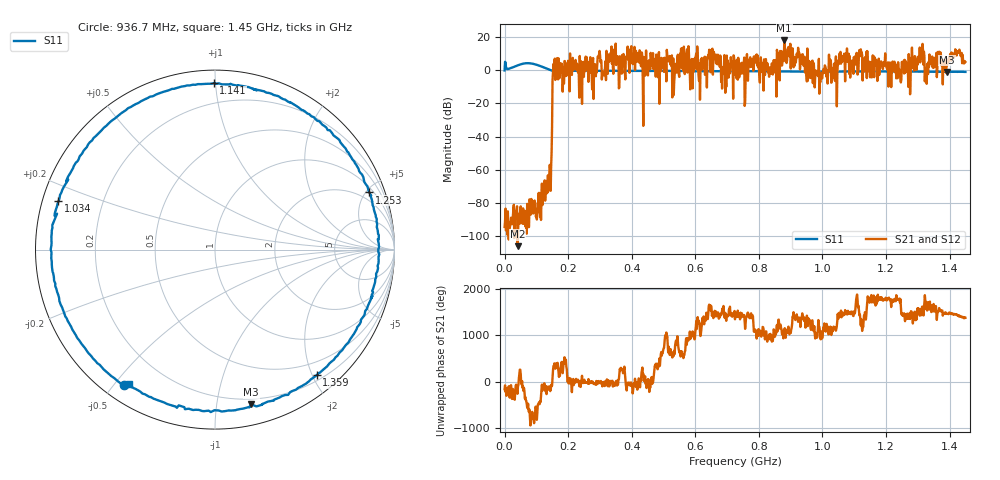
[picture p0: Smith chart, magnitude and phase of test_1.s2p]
! Created with skrf 1.11.0 (http://scikit-rf.org).
# Hz S RI R 50.0
!freq ReS11 ImS11 ReS21 ImS21 ReS12 ImS12 ReS22 ImS22
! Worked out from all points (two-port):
!   1001 points, 50 kHz to 1.45 GHz, reference 50 ohm
!   highest |S21| = 17.93 dB at 880.2 MHz (marker M1); lowest = -105.9 dB at 40.65 MHz (marker M2)
!   |S21| within 3 dB of the highest: 349.2053 MHz to 349.611 MHz (405.8 kHz wide, 0.116 % of centre); 879.8193 MHz to 881.5782 MHz (1.759 MHz wide, 0.2 % of centre) (the widest 2 of 4)
!   lowest |S11| = -1.1 dB at 1.392 GHz (marker M3), VSWR 16.43, Z = 7.84 - j62.5 ohm
!   |S11| at or under -10 dB: nowhere
!   |S22| runs from - to - dB; largest |S21 - S12| = 0
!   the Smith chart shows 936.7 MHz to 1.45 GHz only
!   S11 on the Smith chart (normalised r, x): 936.7 MHz: 0.06, -0.53; 1.034 GHz: 0.05, +0.15; 1.141 GHz: 0.07, +0.99; 1.253 GHz: 1.33, +5.25; 1.359 GHz: 0.28, -2.07; 1.45 GHz: 0.07, -0.55
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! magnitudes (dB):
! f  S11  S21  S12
! 50 kHz  -0.1  -94.3  -94.3
! 40.65 MHz  2.9  -105.9  -105.9
! 137.8 MHz  0.5  -72.7  -72.7
! 159.5 MHz  -0.3  -5.8  -5.8
! 242.2 MHz  -0.3  1.7  1.7
! 342.2 MHz  -0.3  -2.1  -2.1
! 484.3 MHz  -0.4  9.0  9.0
! 535.1 MHz  -0.4  -2.9  -2.9
! 558.3 MHz  -0.5  13.1  13.1
! 588.7 MHz  -0.6  6.8  6.8
! 646.7 MHz  -0.6  12.2  12.2
! 725 MHz  -0.6  1.9  1.9
! 880.2 MHz  -0.7  17.9  17.9
! 936.7 MHz  -0.8  9.6  9.6
! 967.2 MHz  -0.8  2.4  2.4
! 1.034 GHz  -0.8  -4.7  -4.7
! 1.141 GHz  -0.7  11.6  11.6
! 1.209 GHz  -0.7  1.1  1.1
! 1.253 GHz  -0.8  4.1  4.1
! 1.359 GHz  -0.9  10.4  10.4
! 1.392 GHz  -1.1  2.7  2.7
! 1.45 GHz  -1.0  5.0  5.0
